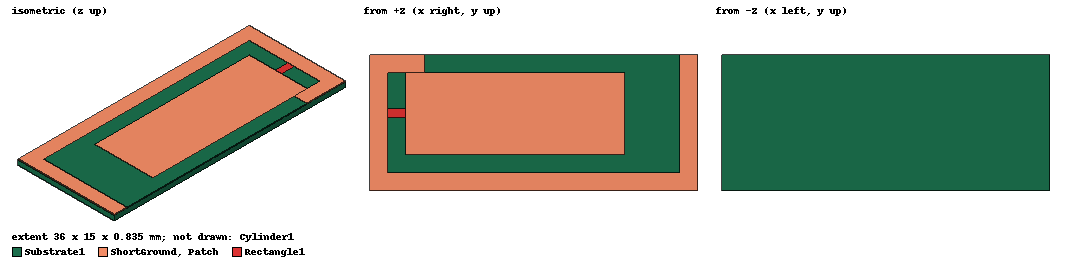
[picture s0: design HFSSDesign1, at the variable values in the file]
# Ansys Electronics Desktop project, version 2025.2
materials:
  vacuum: permittivity=1
  FR4_epoxy: permittivity=4.4 dielectric_loss_tangent=0.02
  copper: permeability=0.999991 conductivity=58000000
  air: permittivity=1.0006 permeability=1.0000004

design HFSSDesign1 (HFSS, HFSS Terminal Network, model units mm)
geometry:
  LongGround = box(corner=(0mm, 0mm, 0mm), size=(36mm, 2mm, 0.035mm))
  ShortGround [copper] = box(corner=(0mm, 0mm, 0mm), size=(2mm, 15mm, 0.035mm))
  FarGround = box(corner=(36mm, 0mm, 0mm), size=(-2mm, 15mm, 0.035mm))
  PatchGround = box(corner=(0mm, 15mm, 0mm), size=(6mm, -2mm, 0.035mm))
  Patch [copper] = box(corner=(4mm, 13mm, 0mm), size=(24mm, -9mm, 0.035mm))
  Substrate [FR4_epoxy] = box(corner=(0mm, 0mm, 0mm), size=(36mm, 15mm, -0.8mm))
  ShortGround.unite(PatchGround, LongGround, FarGround)
  Cylinder1 [air] = cylinder(axis=Z, base_centre=(0mm, 0mm, -100mm), radius=100mm, height=200mm)
  Rectangle1 = rectangle(corner=(2mm, 8mm, 0mm), x_size=2mm, y_size=1mm)
  Substrate1 [FR4_epoxy] = box(corner=(0mm, 0mm, 0mm), size=(36mm, 15mm, -0.8mm))
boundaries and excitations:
  Rad1: Radiation Objects=Cylinder1
  Patch_T1: Terminal port=1 Edges=Patch.edge(at (4, 8.5, 0)) TerminalResistance=50ohm
  1: Lumped Port Faces=Rectangle1.face LumpedPortType=Terminal Impedance=50ohm
  reference conductors: ShortGround
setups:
  Setup1: HfssDriven Frequency=1.575GHz MaxDeltaS=0.02 MaximumPasses=12 MinimumPasses=1 MinimumConvergedPasses=1 PercentRefinement=30 BasisOrder=1 PortAccuracy=2 DrivenSolverType="Direct Solver" InfiniteSphereSetup=1
    sweep LargeSweep: 0.5GHz to 2.5GHz, 401 points; Type=Interpolating SaveFields InterpTolerance=0.5 InterpMaxSolns=250 PassivityErrorTolerance=0.0001
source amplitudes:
  1:1: 1V 0deg
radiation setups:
  Infinite Sphere1: Infinite Sphere Theta=0deg..180deg step 2deg Phi=-180deg..180deg step 2deg
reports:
  Terminal S Parameter Plot1: dB(St(Patch_T1,Patch_T1)) vs Freq on Setup1 : LargeSweep
  Terminal VSWR Plot1: VSWRt(Patch_T1) vs Freq on Setup1 : LargeSweep
  Gain Plot1: dB(GainTotal) vs Phi, Theta on Setup1 : LastAdaptive, Infinite Sphere1 [Freq=1.575GHz]
  Axial Ratio Plot1: mag(AxialRatioValue) vs Freq on Setup1 : LargeSweep, Infinite Sphere1 [Phi=90deg Theta=0deg]
